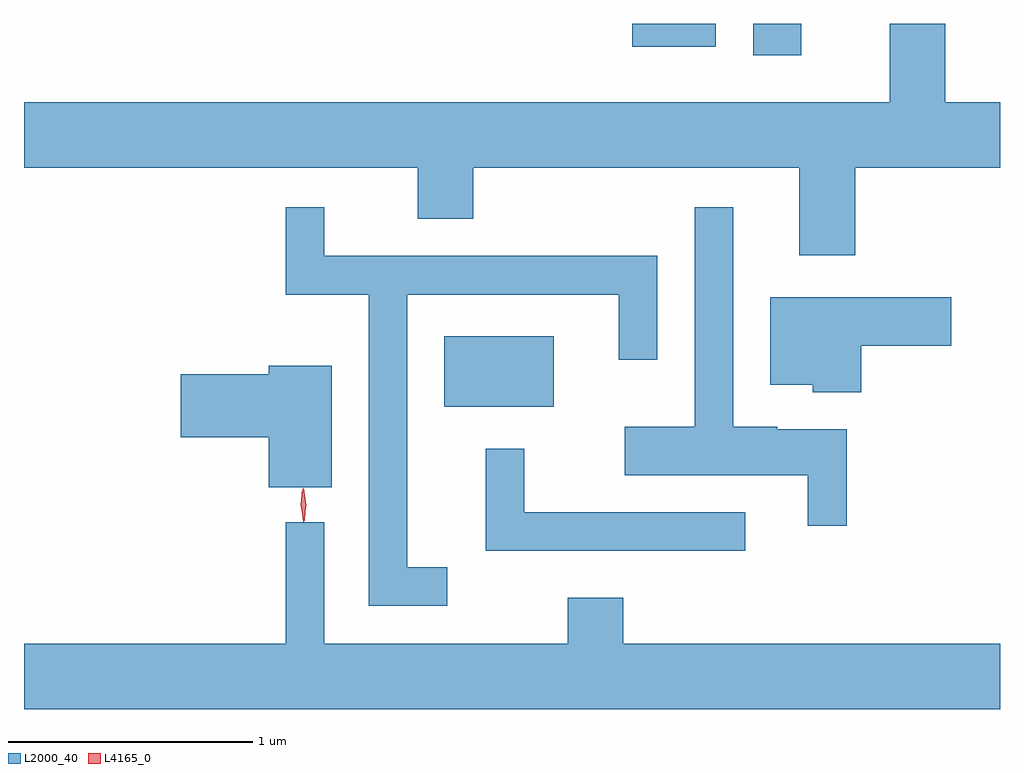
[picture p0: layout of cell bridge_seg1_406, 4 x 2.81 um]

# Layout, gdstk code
import gdstk
lib = gdstk.Library(unit=1e-6, precision=1e-09)
def R(c, l, rs):  # rectangles x0, y0, x1, y1
    for r in rs: c.add(gdstk.rectangle(r[:2], r[2:], *l))
def P(c, l, *ps):  # polygons
    for p in ps: c.add(gdstk.Polygon(p, *l))
L2000_40 = (2000, 40)
L4165_0 = (4165, 0)

bridge_seg1_406 = lib.new_cell('bridge_seg1_406')
R(bridge_seg1_406, L2000_40, [(330.706,938.556,331.154,938.844), (331.971,939.996,332.169,940.126), (331.476,940.031,331.819,940.126)])
P(bridge_seg1_406, L2000_40, [(332.389,939.536),(332.983,939.536),(332.983,939.804),(332.759,939.804),(332.759,940.126),(332.531,940.126),(332.531,939.804),(328.983,939.804),(328.983,939.536),(330.596,939.536),(330.596,939.326),(330.824,939.326),(330.824,939.536),(332.161,939.536),(332.161,939.176),(332.389,939.176)],
  [(332.354,938.464),(332.07,938.464),(332.07,938.474),(331.889,938.474),(331.889,939.373),(331.731,939.373),(331.731,938.474),(331.446,938.474),(331.446,938.276),(332.196,938.276),(332.196,938.068),(332.354,938.068)],
  [(330.718,937.899),(330.554,937.899),(330.554,939.016),(331.421,939.016),(331.421,938.748),(331.579,938.748),(331.579,939.174),(330.214,939.174),(330.214,939.373),(330.056,939.373),(330.056,939.016),(330.396,939.016),(330.396,937.741),(330.718,937.741)],
  [(332.414,938.806),(332.784,938.806),(332.784,939.004),(332.041,939.004),(332.041,938.646),(332.216,938.646),(332.216,938.616),(332.414,938.616)],
  [(330.244,938.724),(329.986,938.724),(329.986,938.689),(329.626,938.689),(329.626,938.431),(329.986,938.431),(329.986,938.226),(330.244,938.226)],
  [(331.938,938.124),(331.034,938.124),(331.034,938.383),(330.876,938.383),(330.876,937.966),(331.938,937.966)],
  [(332.983,937.584),(331.439,937.584),(331.439,937.774),(331.211,937.774),(331.211,937.584),(330.214,937.584),(330.214,938.083),(330.056,938.083),(330.056,937.584),(328.983,937.584),(328.983,937.316),(332.983,937.316)])
P(bridge_seg1_406, L4165_0, [(330.133,938.088),(330.132,938.089),(330.118,938.153),(330.123,938.218),(330.123,938.219),(330.124,938.218),(330.138,938.154),(330.133,938.089)],
  [(330.128,938.085),(330.119,938.153),(330.128,938.222),(330.129,938.222),(330.129,938.222),(330.139,938.153),(330.129,938.085),(330.129,938.085)])

lib.write_gds('bridge_seg1_406.gds')
